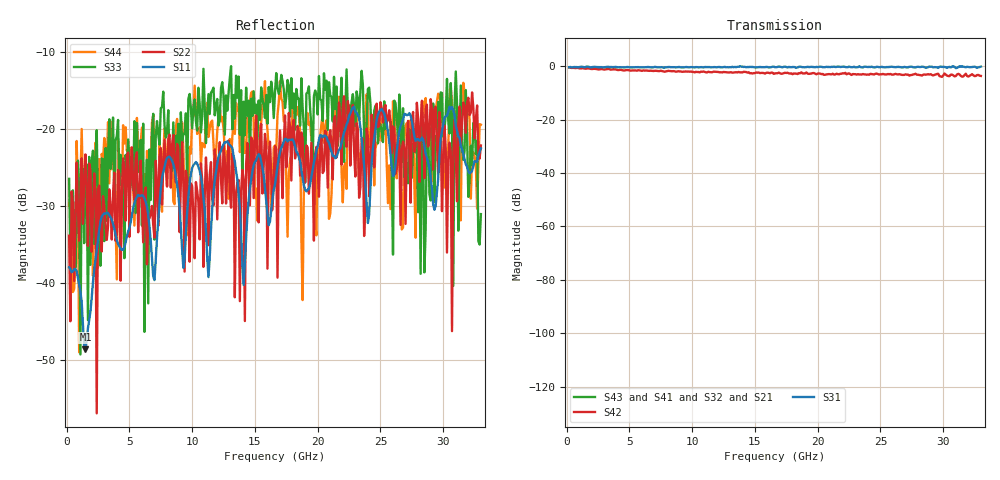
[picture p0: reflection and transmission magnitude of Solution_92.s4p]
# GHZ S RI R 50
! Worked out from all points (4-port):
!   329 points, 200 MHz to 33 GHz, reference 50 ohm
!   strongest paths, dB at 200 MHz, 8.4 GHz, 16.6 GHz, 24.8 GHz, 33 GHz:
!     S31: -0.4, -0.4, -0.4, -0.3, -0.2
!     S42: -0.5, -1.9, -2.7, -3.0, -3.6
!     S43: -, -, -, -, -
!     S41: -, -, -, -, -
!     S32: -, -, -, -, -
!     S21: -, -, -, -, -
!   lowest |S11| = -48.6 dB at 1.5 GHz (marker M1), VSWR 1.01, Z = 49.7 - j0.242 ohm
!   |S11| at or under -10 dB: start of sweep to end of sweep
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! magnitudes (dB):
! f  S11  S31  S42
! 200 MHz  -37.9  -0.4  -0.5
! 1.5 GHz  -48.6  -0.3  -0.9
! 2.3 GHz  -37.0  -0.3  -1.0
! 2.4 GHz  -35.8  -0.3  -1.1
! 2.5 GHz  -34.4  -0.3  -1.2
! 5.2 GHz  -31.2  -0.5  -1.6
! 33 GHz  -22.5  -0.2  -3.6
